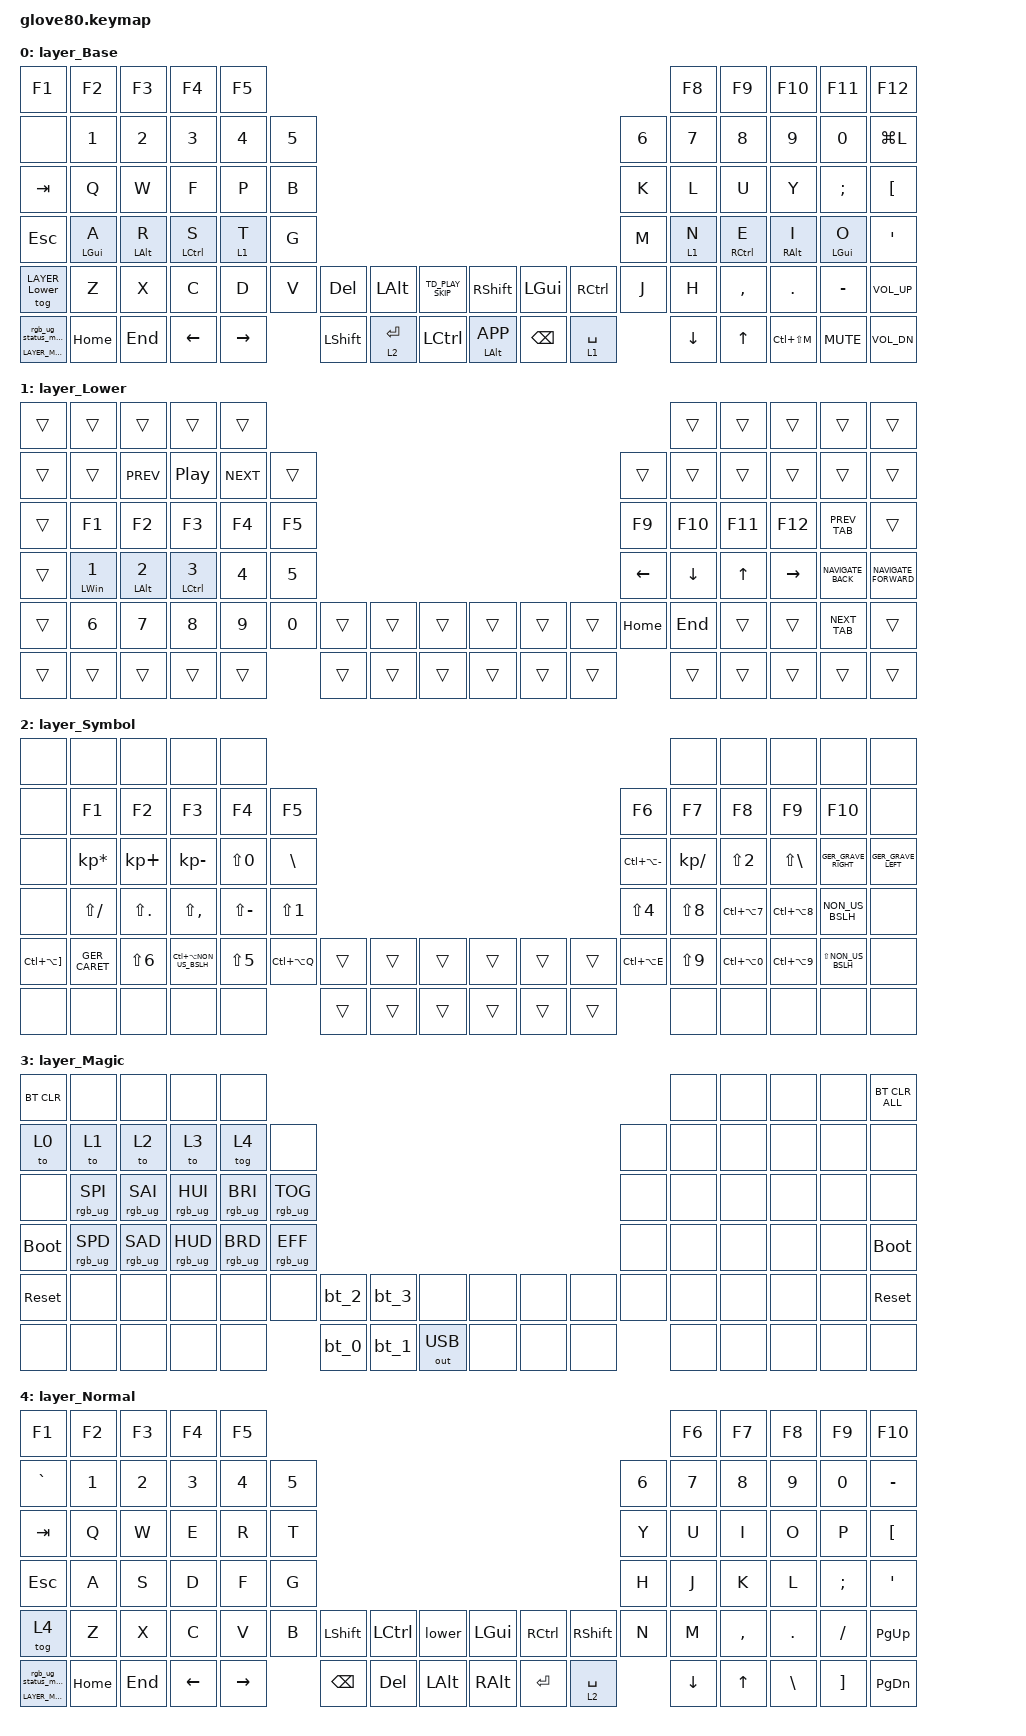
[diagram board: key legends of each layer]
/*
 * Copyright (c) 2020 The ZMK Contributors
 * Copyright (c) 2023 Innaworks Development Limited, trading as MoErgo
 *
 * SPDX-License-Identifier: MIT
 */
/* THIS FILE WAS GENERATED BY GLOVE80 LAYOUT EDITOR
 *
 * This file was generated automatically. You may or may not want to
 * edit it directly.
 */
/* Include all behavior includes needed */

#include <behaviors.dtsi>
#include <dt-bindings/zmk/bt.h>
#include <dt-bindings/zmk/keys.h>
#include <dt-bindings/zmk/outputs.h>
#include <dt-bindings/zmk/rgb.h>

// /* On demand includes */
// /* Automatically generated layer name #define */

#define LAYER_Base 0
#define LAYER_Lower 1
#define LAYER_Symbol 2
#define LAYER_Magic 3
#define LAYER_Normal 4

// /* Custom Device-tree */

&caps_word { continue-list = <UNDERSCORE MINUS FSLH BSPC DEL>; };

&sk { release-after-ms = <200>; };

/ {
    macros {
        rgb_ug_status_macro: rgb_ug_status_macro {
            label = "RGB_UG_STATUS";
            compatible = "zmk,behavior-macro";
            #binding-cells = <0>;
            bindings = <&rgb_ug RGB_STATUS>;
        };

        bt_0: bt_0 {
            label = "BT_0";
            compatible = "zmk,behavior-macro";
            #binding-cells = <0>;
            bindings = <&out OUT_BLE &bt BT_SEL 0>;
        };

        bt_1: bt_1 {
            label = "BT_1";
            compatible = "zmk,behavior-macro";
            #binding-cells = <0>;
            bindings = <&out OUT_BLE &bt BT_SEL 1>;
        };

        bt_2: bt_2 {
            label = "BT_2";
            compatible = "zmk,behavior-macro";
            #binding-cells = <0>;
            bindings = <&out OUT_BLE &bt BT_SEL 2>;
        };

        bt_3: bt_3 {
            label = "BT_3";
            compatible = "zmk,behavior-macro";
            #binding-cells = <0>;
            bindings = <&out OUT_BLE &bt BT_SEL 3>;
        };

        // German caret, dead key combo ^ > SPACE

        GER_CARET: GER_CARET {
            label = "&GER_CARET";
            compatible = "zmk,behavior-macro";
            #binding-cells = <0>;
            bindings = <&kp GRAVE &kp SPACE>;
        };

        // German grave_accent `, dead key combo ` > SPACE

        GER_GRAVE_RIGHT: GER_GRAVE_RIGHT {
            label = "&GER_GRAVE_RIGHT";
            compatible = "zmk,behavior-macro";
            #binding-cells = <0>;
            bindings = <&kp LS(EQUAL) &kp SPACE>;
        };

        // German grave_accent ´, dead key combo ´ > SPACE

        GER_GRAVE_LEFT: GER_GRAVE_LEFT {
            label = "&GER_GRAVE_LEFT";
            compatible = "zmk,behavior-macro";
            #binding-cells = <0>;
            bindings = <&kp EQUAL &kp SPACE>;
        };
    };
};

/* #define for key positions */

#define POS_LH_T1 52
#define POS_LH_T2 53
#define POS_LH_T3 54
#define POS_LH_T4 69
#define POS_LH_T5 70
#define POS_LH_T6 71
#define POS_LH_C1R2 15
#define POS_LH_C1R3 27
#define POS_LH_C1R4 39
#define POS_LH_C1R5 51
#define POS_LH_C2R1 4
#define POS_LH_C2R2 14
#define POS_LH_C2R3 26
#define POS_LH_C2R4 38
#define POS_LH_C2R5 50
#define POS_LH_C2R6 68
#define POS_LH_C3R1 3
#define POS_LH_C3R2 13
#define POS_LH_C3R3 25
#define POS_LH_C3R4 37
#define POS_LH_C3R5 49
#define POS_LH_C3R6 67
#define POS_LH_C4R1 2
#define POS_LH_C4R2 12
#define POS_LH_C4R3 24
#define POS_LH_C4R4 36
#define POS_LH_C4R5 48
#define POS_LH_C4R6 66
#define POS_LH_C5R1 1
#define POS_LH_C5R2 11
#define POS_LH_C5R3 23
#define POS_LH_C5R4 35
#define POS_LH_C5R5 47
#define POS_LH_C5R6 65
#define POS_LH_C6R1 0
#define POS_LH_C6R2 10
#define POS_LH_C6R3 22
#define POS_LH_C6R4 34
#define POS_LH_C6R5 46
#define POS_LH_C6R6 64
#define POS_RH_T1 57
#define POS_RH_T2 56
#define POS_RH_T3 55
#define POS_RH_T4 74
#define POS_RH_T5 73
#define POS_RH_T6 72
#define POS_RH_C1R2 16
#define POS_RH_C1R3 28
#define POS_RH_C1R4 40
#define POS_RH_C1R5 58
#define POS_RH_C2R1 5
#define POS_RH_C2R2 17
#define POS_RH_C2R3 29
#define POS_RH_C2R4 41
#define POS_RH_C2R5 59
#define POS_RH_C2R6 75
#define POS_RH_C3R1 6
#define POS_RH_C3R2 18
#define POS_RH_C3R3 30
#define POS_RH_C3R4 42
#define POS_RH_C3R5 60
#define POS_RH_C3R6 76
#define POS_RH_C4R1 7
#define POS_RH_C4R2 19
#define POS_RH_C4R3 31
#define POS_RH_C4R4 43
#define POS_RH_C4R5 61
#define POS_RH_C4R6 77
#define POS_RH_C5R1 8
#define POS_RH_C5R2 20
#define POS_RH_C5R3 32
#define POS_RH_C5R4 44
#define POS_RH_C5R5 62
#define POS_RH_C5R6 78
#define POS_RH_C6R1 9
#define POS_RH_C6R2 21
#define POS_RH_C6R3 33
#define POS_RH_C6R4 45
#define POS_RH_C6R5 63
#define POS_RH_C6R6 79

// DIFFICULTY_THRESHOLD specifies your level of expertise with this keymap.
// It's meant to help newcomers gradually work their way up to mastery.
// You can disable this setting by omitting it or assigning a `0` zero.

#define DIFFICULTY_THRESHOLD 200 // 500ms: easy -> 100ms: hard

// HOLDING_TIME defines how long you need to hold (milliseconds)
// home row mod keys in order to send their modifiers to the computer
// (i.e. "register" them) for mod-click mouse usage (e.g. Ctrl-Click).

#define HOLDING_TIME 250
#define PINKEY_DIFFICULTY_OFFSET (DIFFICULTY_THRESHOLD / 8)
#define TAP_DANCE_TAPPING_TIME (DIFFICULTY_THRESHOLD - 25)

// HOLDING_TYPE defines the flavor of ZMK hold-tap behavior to use
// for the pinky, ring, and middle fingers (which are assigned to Super,
// Alt, and Ctrl respectively in the Miryoku system) on home row keys.

#define HOLDING_TYPE "tap-preferred"

// STREAK_DECAY defines how long you need to wait (milliseconds)
// after typing before you can use home row mods again. It prevents
// unintended activation of home row mods when you're actively typing.

#define STREAK_DECAY 250

// REPEAT_DECAY defines how much time you have left (milliseconds)
// after tapping a key to hold it again in order to make it auto-repeat.

#define REPEAT_DECAY 200 // "tap then hold" for key auto-repeat

/* Custom Defined Behaviors */

/ {
    behaviors {
        /* Glove80 system behavior & macros */
        // For the "layer" key, it'd nice to be able to use it as either a shift or a toggle.
        // Configure it as a tap dance, so the first tap (or hold) is a &mo and the second tap is a &to

        lower: lower {
            compatible = "zmk,behavior-tap-dance";
            label = "LAYER_TAP_DANCE";
            #binding-cells = <0>;
            tapping-term-ms = <200>;
            bindings = <&mo LAYER_Lower>, <&to LAYER_Lower>;
        };

        magic: magic {
            compatible = "zmk,behavior-hold-tap";
            label = "MAGIC_HOLD_TAP";
            #binding-cells = <2>;
            flavor = "tap-preferred";
            tapping-term-ms = <200>;
            bindings = <&mo>, <&rgb_ug_status_macro>;
        };

        /*
        Glove80 key positions index for positional hold-tap
        - https://discord.com/channels/877392805654306816/937645688244826154/1066713913351221248
        - https://media.discordapp.net/attachments/937645688244826154/1066713913133121556/image.png
        
        |------------------------|------------------------|
        | LEFT_HAND_KEYS         |        RIGHT_HAND_KEYS |
        |                        |                        |
        |  0  1  2  3  4         |          5  6  7  8  9 |
        | 10 11 12 13 14 15      |      16 17 18 19 20 21 |
        | 22 23 24 25 26 27      |      28 29 30 31 32 33 |
        | 34 35 36 37 38 39      |      40 41 42 43 44 45 |
        | 46 47 48 49 50 51      |      58 59 60 61 62 63 |
        | 64 65 66 67 68         |         75 76 77 78 79 |
        |                69 52   |   57 74                |
        |                 70 53  |  56 73                 |
        |                  71 54 | 55 72                  |
        |------------------------|------------------------|
        */

        #define LEFT_HAND_KEYS      \
            0  1  2  3  4         \
            10 11 12 13 14 15      \
            22 23 24 25 26 27      \
            34 35 36 37 38 39      \
            46 47 48 49 50 51      \
            64 65 66 67 68
        #define RIGHT_HAND_KEYS     \
                                            5  6  7  8  9 \
                                        16 17 18 19 20 21 \
                                        28 29 30 31 32 33 \
                                        40 41 42 43 44 45 \
                                        58 59 60 61 62 63 \
                                            75 76 77 78 79
        #define THUMB_KEYS          \
                            69 52       57 74                \
                            70 53     56 73                 \
                            71 54   55 72

        left_pinky: homey_left_pinky {
            compatible = "zmk,behavior-hold-tap";
            flavor =
            HOLDING_TYPE;
            hold-trigger-key-positions = <RIGHT_HAND_KEYS THUMB_KEYS>;
            hold-trigger-on-release; // wait for other home row mods
            tapping-term-ms = <(HOLDING_TIME + PINKEY_DIFFICULTY_OFFSET)>;
            quick-tap-ms = <REPEAT_DECAY>;
            require-prior-idle-ms = <STREAK_DECAY>;
            #binding-cells = <2>;
            bindings = <&kp>, <&kp>;
        };

        right_pinky: homey_right_pinky {
            compatible = "zmk,behavior-hold-tap";
            flavor =
            HOLDING_TYPE;
            hold-trigger-key-positions = <RIGHT_HAND_KEYS THUMB_KEYS>;
            hold-trigger-on-release; // wait for other home row mods
            tapping-term-ms = <(HOLDING_TIME + PINKEY_DIFFICULTY_OFFSET)>;
            quick-tap-ms = <REPEAT_DECAY>;
            require-prior-idle-ms = <STREAK_DECAY>;
            #binding-cells = <2>;
            bindings = <&kp>, <&kp>;
        };

        left_ring: homey_left_ring {
            compatible = "zmk,behavior-hold-tap";
            flavor =
            HOLDING_TYPE;
            hold-trigger-key-positions = <RIGHT_HAND_KEYS THUMB_KEYS>;
            hold-trigger-on-release; // wait for other home row mods
            tapping-term-ms = <HOLDING_TIME>;
            quick-tap-ms = <REPEAT_DECAY>;
            require-prior-idle-ms = <STREAK_DECAY>;
            #binding-cells = <2>;
            bindings = <&kp>, <&kp>;
        };

        right_ring: homey_right_ring {
            compatible = "zmk,behavior-hold-tap";
            flavor =
            HOLDING_TYPE;
            hold-trigger-key-positions = <LEFT_HAND_KEYS THUMB_KEYS>;
            hold-trigger-on-release; // wait for other home row mods
            tapping-term-ms = <HOLDING_TIME>;
            quick-tap-ms = <REPEAT_DECAY>;
            require-prior-idle-ms = <STREAK_DECAY>;
            #binding-cells = <2>;
            bindings = <&kp>, <&kp>;
        };

        left_middy: homey_left_middy {
            compatible = "zmk,behavior-hold-tap";
            flavor =
            HOLDING_TYPE;
            hold-trigger-key-positions = <RIGHT_HAND_KEYS THUMB_KEYS>;
            hold-trigger-on-release; // wait for other home row mods
            tapping-term-ms = <HOLDING_TIME>;
            quick-tap-ms = <REPEAT_DECAY>;
            require-prior-idle-ms = <STREAK_DECAY>;
            #binding-cells = <2>;
            bindings = <&kp>, <&kp>;
        };

        right_middy: homey_right_middy {
            compatible = "zmk,behavior-hold-tap";
            flavor =
            HOLDING_TYPE;
            hold-trigger-key-positions = <LEFT_HAND_KEYS THUMB_KEYS>;
            hold-trigger-on-release; // wait for other home row mods
            tapping-term-ms = <HOLDING_TIME>;
            quick-tap-ms = <REPEAT_DECAY>;
            require-prior-idle-ms = <STREAK_DECAY>;
            #binding-cells = <2>;
            bindings = <&kp>, <&kp>;
        };
    };
};

/ {
    macros {
        // ^

        ZMK_MACRO(GER_CARET,

        bindings = <&kp GRAVE>, <&kp SPACE>;

        )

        // `

        ZMK_MACRO(

        GER_GRAVE_RIGHT,
        bindings = <&kp LS(EQUAL)>, <&kp SPACE>;

        )

        // ´

        ZMK_MACRO(

        GER_GRAVE_LEFT,
        bindings = <&kp EQUAL>, <&kp SPACE>;

        )

        ZMK_MACRO(

        PREV_TAB,
        bindings = <&kp LC(LS(TAB))>;

        )

        ZMK_MACRO(

        NEXT_TAB,
        bindings = <&kp LC(TAB)>;

        )

        ZMK_MACRO(

        NAVIGATE_BACK,
        bindings = <&kp LC(LEFT)>;

        )

        ZMK_MACRO(

        NAVIGATE_FORWARD,
        bindings = <&kp LC(RIGHT)>;

        )

        TD_PLAY_SKIP: TD_PLAY_SKIP {
            compatible = "zmk,behavior-tap-dance";
            #binding-cells = <0>;
            tapping-term-ms = <250>;
            bindings = <&kp C_PLAY_PAUSE>, <&kp C_NEXT>;
        };
    };
};

/* Automatically generated keymap */

/ {
    keymap {
        compatible = "zmk,keymap";

        layer_Base {
            bindings = <
&kp F1                &kp F2              &kp F3             &kp F4               &kp F5                                                                                                 &kp F8    &kp F9                &kp F10             &kp F11              &kp F12
&none                 &kp N1              &kp N2             &kp N3               &kp N4     &kp N5                                                                              &kp N6  &kp N7    &kp N8                &kp N9              &kp N0               &kp LG(L)
&kp TAB               &kp Q               &kp W              &kp F                &kp P      &kp B                                                                               &kp K   &kp L     &kp U                 &kp Y               &kp SEMI             &kp LBKT
&kp ESC               &left_pinky LGUI A  &left_ring LALT R  &left_middy LCTRL S  &lt 1 T    &kp G                                                                               &kp M   &lt 1 N   &right_middy RCTRL E  &right_ring RALT I  &right_pinky LGUI O  &kp SQT
&tog LAYER_Lower      &kp Z               &kp X              &kp C                &kp D      &kp V   &kp DEL    &kp LALT   &TD_PLAY_SKIP  &kp RSHFT       &kp LGUI  &kp RCTRL    &kp J   &kp H     &kp COMMA             &kp DOT             &kp MINUS            &kp C_VOL_UP
&magic LAYER_Magic 0  &kp HOME            &kp END            &kp LEFT             &kp RIGHT          &kp LSHFT  &lt 2 RET  &kp LCTRL      &mt LALT K_APP  &kp BSPC  &lt 1 SPACE          &kp DOWN  &kp UP                &kp LC(LS(M))       &kp C_MUTE           &kp C_VOL_DN
            >;
        };

        layer_Lower {
            bindings = <
&trans  &trans                         &trans                        &trans                      &trans                                                                        &trans    &trans   &trans     &trans          &trans
&trans  &trans                         &kp C_PREV                    &kp C_PP                    &kp C_NEXT  &trans                                                  &trans    &trans    &trans   &trans     &trans          &trans
&trans  &kp F1                         &kp F2                        &kp F3                      &kp F4      &kp F5                                                  &kp F9    &kp F10   &kp F11  &kp F12    &PREV_TAB       &trans
&trans  &left_pinky LEFT_WIN NUMBER_1  &left_ring LEFT_ALT NUMBER_2  &left_middy LCTRL NUMBER_3  &kp N4      &kp N5                                                  &kp LEFT  &kp DOWN  &kp UP   &kp RIGHT  &NAVIGATE_BACK  &NAVIGATE_FORWARD
&trans  &kp N6                         &kp N7                        &kp N8                      &kp N9      &kp N0  &trans  &trans  &trans  &trans  &trans  &trans  &kp HOME  &kp END   &trans   &trans     &NEXT_TAB       &trans
&trans  &trans                         &trans                        &trans                      &trans              &trans  &trans  &trans  &trans  &trans  &trans            &trans    &trans   &trans     &trans          &trans
            >;
        };

        layer_Symbol {
            bindings = <
&none             &none            &none        &none                    &none                                                                                            &none         &none           &none           &none                &none
&none             &kp F1           &kp F2       &kp F3                   &kp F4         &kp F5                                                         &kp F6             &kp F7        &kp F8          &kp F9          &kp F10              &none
&none             &kp KP_MULTIPLY  &kp KP_PLUS  &kp KP_MINUS             &kp LS(N0)     &kp BSLH                                                       &kp LC(LA(MINUS))  &kp KP_SLASH  &kp LS(N2)      &kp LS(BSLH)    &GER_GRAVE_RIGHT     &GER_GRAVE_LEFT
&none             &kp LS(FSLH)     &kp LS(DOT)  &kp LS(COMMA)            &kp LS(MINUS)  &kp LS(N1)                                                     &kp LS(N4)         &kp LS(N8)    &kp LC(LA(N7))  &kp LC(LA(N8))  &kp NON_US_BSLH      &none
&kp LC(LA(RBKT))  &GER_CARET       &kp LS(N6)   &kp LC(LA(NON_US_BSLH))  &kp LS(N5)     &kp LC(LA(Q))  &trans  &trans  &trans  &trans  &trans  &trans  &kp LC(LA(E))      &kp LS(N9)    &kp LC(LA(N0))  &kp LC(LA(N9))  &kp LS(NON_US_BSLH)  &none
&none             &none            &none        &none                    &none                         &trans  &trans  &trans  &trans  &trans  &trans                     &none         &none           &none           &none                &none
            >;
        };

        layer_Magic {
            bindings = <
&bt BT_CLR   &none            &none            &none            &none                                                                                     &none  &none  &none  &none  &bt BT_CLR_ALL
&to 0        &to 1            &to 2            &to 3            &tog 4           &none                                                             &none  &none  &none  &none  &none  &none
&none        &rgb_ug RGB_SPI  &rgb_ug RGB_SAI  &rgb_ug RGB_HUI  &rgb_ug RGB_BRI  &rgb_ug RGB_TOG                                                   &none  &none  &none  &none  &none  &none
&bootloader  &rgb_ug RGB_SPD  &rgb_ug RGB_SAD  &rgb_ug RGB_HUD  &rgb_ug RGB_BRD  &rgb_ug RGB_EFF                                                   &none  &none  &none  &none  &none  &bootloader
&sys_reset   &none            &none            &none            &none            &none            &bt_2  &bt_3  &none         &none  &none  &none  &none  &none  &none  &none  &none  &sys_reset
&none        &none            &none            &none            &none                             &bt_0  &bt_1  &out OUT_USB  &none  &none  &none         &none  &none  &none  &none  &none
            >;
        };

        layer_Normal {
            bindings = <
&kp F1                &kp F2    &kp F3   &kp F4    &kp F5                                                                                       &kp F6    &kp F7     &kp F8    &kp F9    &kp F10
&kp GRAVE             &kp N1    &kp N2   &kp N3    &kp N4     &kp N5                                                                    &kp N6  &kp N7    &kp N8     &kp N9    &kp N0    &kp MINUS
&kp TAB               &kp Q     &kp W    &kp E     &kp R      &kp T                                                                     &kp Y   &kp U     &kp I      &kp O     &kp P     &kp LBKT
&kp ESC               &kp A     &kp S    &kp D     &kp F      &kp G                                                                     &kp H   &kp J     &kp K      &kp L     &kp SEMI  &kp SQT
&tog 4                &kp Z     &kp X    &kp C     &kp V      &kp B   &kp LSHFT  &kp LCTRL  &lower    &kp LGUI  &kp RCTRL  &kp RSHFT    &kp N   &kp M     &kp COMMA  &kp DOT   &kp FSLH  &kp PG_UP
&magic LAYER_Magic 0  &kp HOME  &kp END  &kp LEFT  &kp RIGHT          &kp BSPC   &kp DEL    &kp LALT  &kp RALT  &kp RET    &lt 2 SPACE          &kp DOWN  &kp UP     &kp BSLH  &kp RBKT  &kp PG_DN
            >;
        };
    };
};
